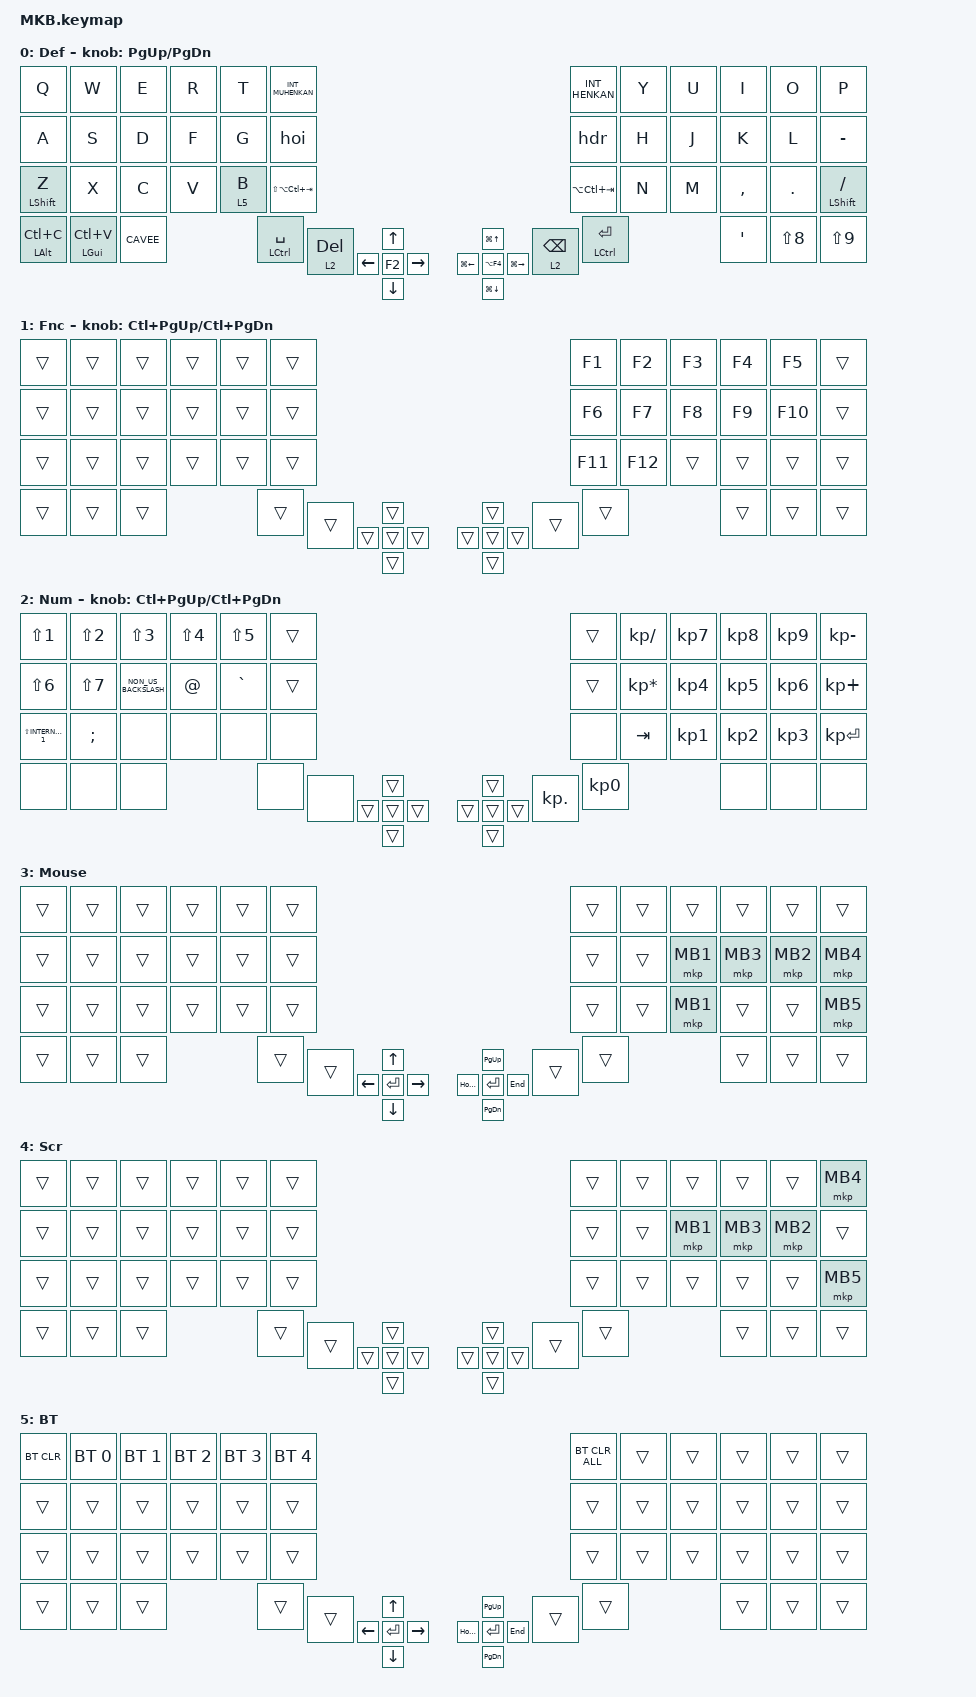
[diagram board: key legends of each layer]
// #include <layout_shift.dtsi>
#include <behaviors.dtsi>
#include <dt-bindings/zmk/keys.h>
#include <dt-bindings/zmk/pointing.h>
#include <dt-bindings/zmk/bt.h>
#include <dt-bindings/zmk/outputs.h>
#include <layout_shift_kp_override.dtsi>

#define DEF 0
#define FUNC 1
#define NUM 2
#define MOUSE 3
#define SCROLL 4
#define BT 5

&mt {
    flavor = "balanced";
    tapping-term-ms = <280>;
    quick-tap-ms = <175>;
    require-prior-idle-ms = <150>;
};

/ {
    combos {
        compatible = "zmk,combos";

        Tab {
            bindings = <&kp TAB>;
            key-positions = <13 14>;
        };

        f2 {
            bindings = <&kp F2>;
            key-positions = <21 22>;
        };

        shift_tab {
            bindings = <&kp LS(TAB)>;
            key-positions = <13 12>;
        };

        ss {
            bindings = <&kp LG(LS(S))>;
            key-positions = <20 19>;
        };
    };

    macros {
        CAVEE: CAVEE {
            compatible = "zmk,behavior-macro";
            #binding-cells = <0>;
            bindings = <&kp LC(LA(V)) &kp V &kp ENTER>;
            label = "CAVEE";
        };

        hoi: hoi {
            compatible = "zmk,behavior-macro";
            #binding-cells = <0>;
            bindings = <&kp LC(A) &kp LEFT_ALT &kp H &kp O &kp I>;
            label = "HOI";
        };

        hdr: hdr {
            compatible = "zmk,behavior-macro";
            #binding-cells = <0>;
            bindings = <&kp LEFT_ALT &kp H &kp D &kp R>;
            label = "HDR";
        };
    };

    keymap {
        compatible = "zmk,keymap";

        default_layer {
            label = "Def";
            bindings = <
&kp Q  &kp W  &kp E  &kp R  &kp T  &kp INT_MUHENKAN  &kp INT_HENKAN  &kp Y  &kp U  &kp I  &kp O  &kp P  &kp A  &kp S  &kp D  &kp F  &kp G  &hoi  &hdr  &kp H  &kp J  &kp K  &kp L  &kp MINUS  &mt LEFT_SHIFT Z  &kp X  &kp C  &kp V  &lt 5 B  &kp LS(LA(LC(TAB)))  &kp LA(LC(TAB))  &kp N  &kp M  &kp COMMA  &kp PERIOD  &mt LEFT_SHIFT SLASH  &mt LEFT_ALT LC(C)  &mt LEFT_GUI LC(V)  &CAVEE  &mt LCTRL SPACE  &lt 2 DELETE  &lt 2 BACKSPACE  &mt LCTRL ENTER  &kp APOSTROPHE  &kp LS(NUMBER_8)  &kp LS(NUMBER_9)  &kp RIGHT  &kp DOWN  &kp UP  &kp LEFT  &kp F2  &kp LG(UP_ARROW)  &kp LG(RIGHT)  &kp LG(LEFT_ARROW)  &kp LG(DOWN_ARROW)  &kp LA(F4)
            >;

            sensor-bindings = <&inc_dec_kp PG_UP PAGE_DOWN>;
        };

        function_layer {
            label = "Fnc";
            bindings = <
&trans  &trans  &trans  &trans  &trans  &trans  &kp F1  &kp F2  &kp F3  &kp F4  &kp F5  &trans  &trans  &trans  &trans  &trans  &trans  &trans  &kp F6  &kp F7  &kp F8  &kp F9  &kp F10  &trans  &trans  &trans  &trans  &trans  &trans  &trans  &kp F11  &kp F12  &trans  &trans  &trans  &trans  &trans  &trans  &trans  &trans  &trans  &trans  &trans  &trans  &trans  &trans  &trans  &trans  &trans  &trans  &trans  &trans  &trans  &trans  &trans  &trans
            >;

            sensor-bindings = <&inc_dec_kp LC(PAGE_UP) LC(PAGE_DOWN)>;
        };

        num_layer {
            label = "Num";
            bindings = <
&kp LS(NUMBER_1)  &kp LS(NUMBER_2)  &kp LS(NUMBER_3)  &kp LS(NUMBER_4)  &kp LS(N5)  &trans  &trans  &kp KP_SLASH  &kp KP_NUMBER_7  &kp KP_NUMBER_8  &kp KP_NUMBER_9  &kp KP_MINUS  &kp LS(NUMBER_6)  &kp LS(NUMBER_7)  &kp NON_US_BACKSLASH  &kp AT_SIGN  &kp GRAVE  &trans  &trans  &kp KP_MULTIPLY  &kp KP_NUMBER_4  &kp KP_NUMBER_5  &kp KP_NUMBER_6  &kp KP_PLUS  &kp LS(INTERNATIONAL_1)  &kp SEMICOLON  &none  &none  &none  &none  &none  &kp TAB  &kp KP_NUMBER_1  &kp KP_NUMBER_2  &kp KP_NUMBER_3  &kp KP_ENTER  &none  &none  &none  &none  &none  &kp KP_DOT  &kp KP_NUMBER_0  &none  &none  &none  &trans  &trans  &trans  &trans  &trans  &trans  &trans  &trans  &trans  &trans
            >;

            sensor-bindings = <&inc_dec_kp LC(PAGE_UP) LC(PAGE_DOWN)>;
        };

        mouse_layer {
            label = "Mouse";
            bindings = <
&trans  &trans  &trans  &trans  &trans  &trans  &trans  &trans  &trans  &trans  &trans  &trans  &trans  &trans  &trans  &trans  &trans  &trans  &trans  &trans  &mkp MB1  &mkp MB3  &mkp MB2  &mkp MB4  &trans  &trans  &trans  &trans  &trans  &trans  &trans  &trans  &mkp MB1  &trans  &trans  &mkp MB5  &trans  &trans  &trans  &trans  &trans  &trans  &trans  &trans  &trans  &trans  &kp RIGHT  &kp DOWN  &kp UP  &kp LEFT  &kp ENTER  &kp PG_UP  &kp END  &kp HOME  &kp PG_DN  &kp ENTER
            >;
        };

        scroll_layer {
            label = "Scr";
            bindings = <
&trans  &trans  &trans  &trans  &trans  &trans  &trans  &trans  &trans  &trans  &trans  &mkp MB4  &trans  &trans  &trans  &trans  &trans  &trans  &trans  &trans  &mkp MB1  &mkp MB3  &mkp MB2  &trans  &trans  &trans  &trans  &trans  &trans  &trans  &trans  &trans  &trans  &trans  &trans  &mkp MB5  &trans  &trans  &trans  &trans  &trans  &trans  &trans  &trans  &trans  &trans  &trans  &trans  &trans  &trans  &trans  &trans  &trans  &trans  &trans  &trans
            >;
        };

        bt_layer {
            label = "BT";
            bindings = <
&bt BT_CLR  &bt BT_SEL 0  &bt BT_SEL 1  &bt BT_SEL 2  &bt BT_SEL 3  &bt BT_SEL 4  &bt BT_CLR_ALL  &trans  &trans  &trans  &trans  &trans  &trans  &trans  &trans  &trans  &trans  &trans  &trans  &trans  &trans  &trans  &trans  &trans  &trans  &trans  &trans  &trans  &trans  &trans  &trans  &trans  &trans  &trans  &trans  &trans  &trans  &trans  &trans  &trans  &trans  &trans  &trans  &trans  &trans  &trans  &kp RIGHT  &kp DOWN  &kp UP  &kp LEFT  &kp ENTER  &kp PG_UP  &kp END  &kp HOME  &kp PG_DN  &kp ENTER
            >;
        };
    };

    behaviors {

        // toJIS: toJIS {
        // 	compatible = "zmk,behavior-hold-tap";
        // 	#binding-cells = <2>;
        // 	tapping-term-ms = <200>;
        // 	quick-tap-ms = <0>;
        // 	bindings = <&tog_ls>, <&kp>;
        // };
        // 	leader1: leader1 {
        //         compatible = "zmk,behavior-leader-key";
        //         #binding-cells = <0>;
        //         leftdown { sequence = <F14 F15>; bindings = <&kp PG_DN>; };
        //         out { sequence = <O U T>; bindings = <&out OUT_TOG>; };
        //     };
        //     leader2: leader2 {
        //         compatible = "zmk,behavior-leader-key";
        //         #binding-cells = <0>;
        //         leftup   { sequence = <F14 F13>; bindings = <&kp PG_UP>; };
        //     };
        //     leader3: leader3 {
        //         compatible = "zmk,behavior-leader-key";
        //         #binding-cells = <0>;
        //         rightdown { sequence = <F17 F18>; bindings = <&kp END>; };
        //     };
        //     leader4: leader4 {
        //         compatible = "zmk,behavior-leader-key";
        //         #binding-cells = <0>;
        //         rightup   { sequence = <F17 F16>; bindings = <&kp HOME>; };
        //     };
        // 	mF13: mF13 {
        //         compatible = "zmk,behavior-macro";
        //         #binding-cells = <0>;
        //         bindings = <&macro_tap &kp F13>
        //                  , <&leader1>;
        //     };
        //     mF14: mF14 {
        //         compatible = "zmk,behavior-macro";
        //         #binding-cells = <0>;
        //         bindings = <&macro_tap &kp F14>;
        //     };
        //     mF15: mF15 {
        //         compatible = "zmk,behavior-macro";
        //         #binding-cells = <0>;
        //         bindings = <&macro_tap &kp F15>
        //                  , <&leader2>;
        //     };
        //     mF16: mF16 {
        //         compatible = "zmk,behavior-macro";
        //         #binding-cells = <0>;
        //         bindings = <&macro_tap &kp F16>
        //                 , <&leader3>;
        //     };
        //     mF17: mF17 {
        //         compatible = "zmk,behavior-macro";
        //         #binding-cells = <0>;
        //         bindings = <&macro_tap &kp F17>;
        //     };
        //     mF18: mF18 {
        //         compatible = "zmk,behavior-macro";
        //         #binding-cells = <0>;
        //         bindings = <&macro_tap &kp F18>
        //                 , <&leader4>;
        //     };
    };
};
